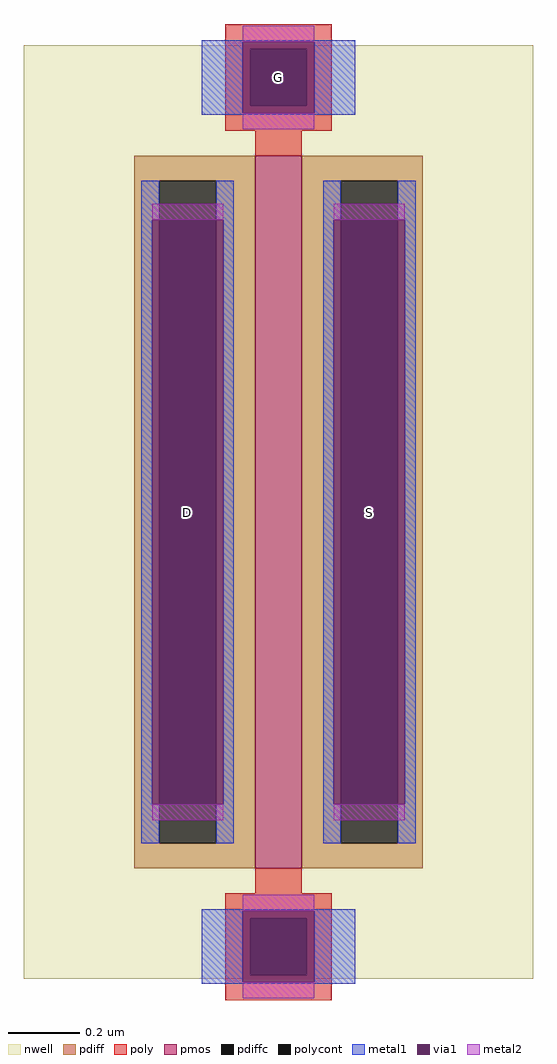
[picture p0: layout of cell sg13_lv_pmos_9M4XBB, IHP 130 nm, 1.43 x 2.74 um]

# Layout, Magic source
magic
tech ihp-sg13cmos5l
magscale 1 2
<< nwell >>
rect -143 -262 143 262
<< pmos >>
rect -13 -200 13 200
<< pdiff >>
rect -81 186 -13 200
rect -81 -186 -67 186
rect -35 -186 -13 186
rect -81 -200 -13 -186
rect 13 186 81 200
rect 13 -186 35 186
rect 67 -186 81 186
rect 13 -200 81 -186
<< pdiffc >>
rect -67 -186 -35 186
rect 35 -186 67 186
<< poly >>
rect -30 260 30 274
rect -30 228 -16 260
rect 16 228 30 260
rect -30 214 30 228
rect -13 200 13 214
rect -13 -214 13 -200
rect -30 -228 30 -214
rect -30 -260 -16 -228
rect 16 -260 30 -228
rect -30 -274 30 -260
<< polycont >>
rect -16 228 16 260
rect -16 -260 16 -228
<< metal1 >>
rect -43 264 43 265
rect -43 224 -20 264
rect 20 224 43 264
rect -43 223 43 224
rect -77 164 -67 186
rect -35 164 -25 186
rect -77 -164 -71 164
rect -31 -164 -25 164
rect -77 -186 -67 -164
rect -35 -186 -25 -164
rect 25 164 35 186
rect 67 164 77 186
rect 25 -164 31 164
rect 71 -164 77 164
rect 25 -186 35 -164
rect 67 -186 77 -164
rect -43 -224 43 -223
rect -43 -264 -20 -224
rect 20 -264 43 -224
rect -43 -265 43 -264
<< via1 >>
rect -20 260 20 264
rect -20 228 -16 260
rect -16 228 16 260
rect 16 228 20 260
rect -20 224 20 228
rect -71 -164 -67 164
rect -67 -164 -35 164
rect -35 -164 -31 164
rect 31 -164 35 164
rect 35 -164 67 164
rect 67 -164 71 164
rect -20 -228 20 -224
rect -20 -260 -16 -228
rect -16 -260 16 -228
rect 16 -260 20 -228
rect -20 -264 20 -260
<< metal2 >>
rect -20 264 20 273
rect -20 215 20 224
rect -71 164 -31 173
rect -71 -173 -31 -164
rect 31 164 71 173
rect 31 -173 71 -164
rect -20 -224 20 -215
rect -20 -273 20 -264
<< labels >>
rlabel pdiffc -51 0 -51 0 0 D
port 10 nsew
rlabel pdiffc 51 0 51 0 0 S
port 11 nsew
rlabel polycont 0 244 0 244 0 G
port 12 nsew
<< properties >>
string gencell sg13_lv_pmos
string library sg13cmos5l
string parameters w 2.0 l 0.13 m 1 ng 1 diffcov 100 polycov 100 guard 0 glc 1 grc 1 gtc 1 gbc 1 tbcov 100 rlcov 100 topc 1 botc 1 poverlap 0 doverlap 1 lmin 0.13 wmin 0.15 class mosfet compatible {sg13_lv_pmos sg13_hv_pmos} full_metal 1 conn_gates 0 gate_ring 0 ccols 1 viasrc 100 viadrn 100 viagate 100 viagb 0 viagr 0 viagl 0 viagt 0 doports 1 mm_ok 1
<< end >>
